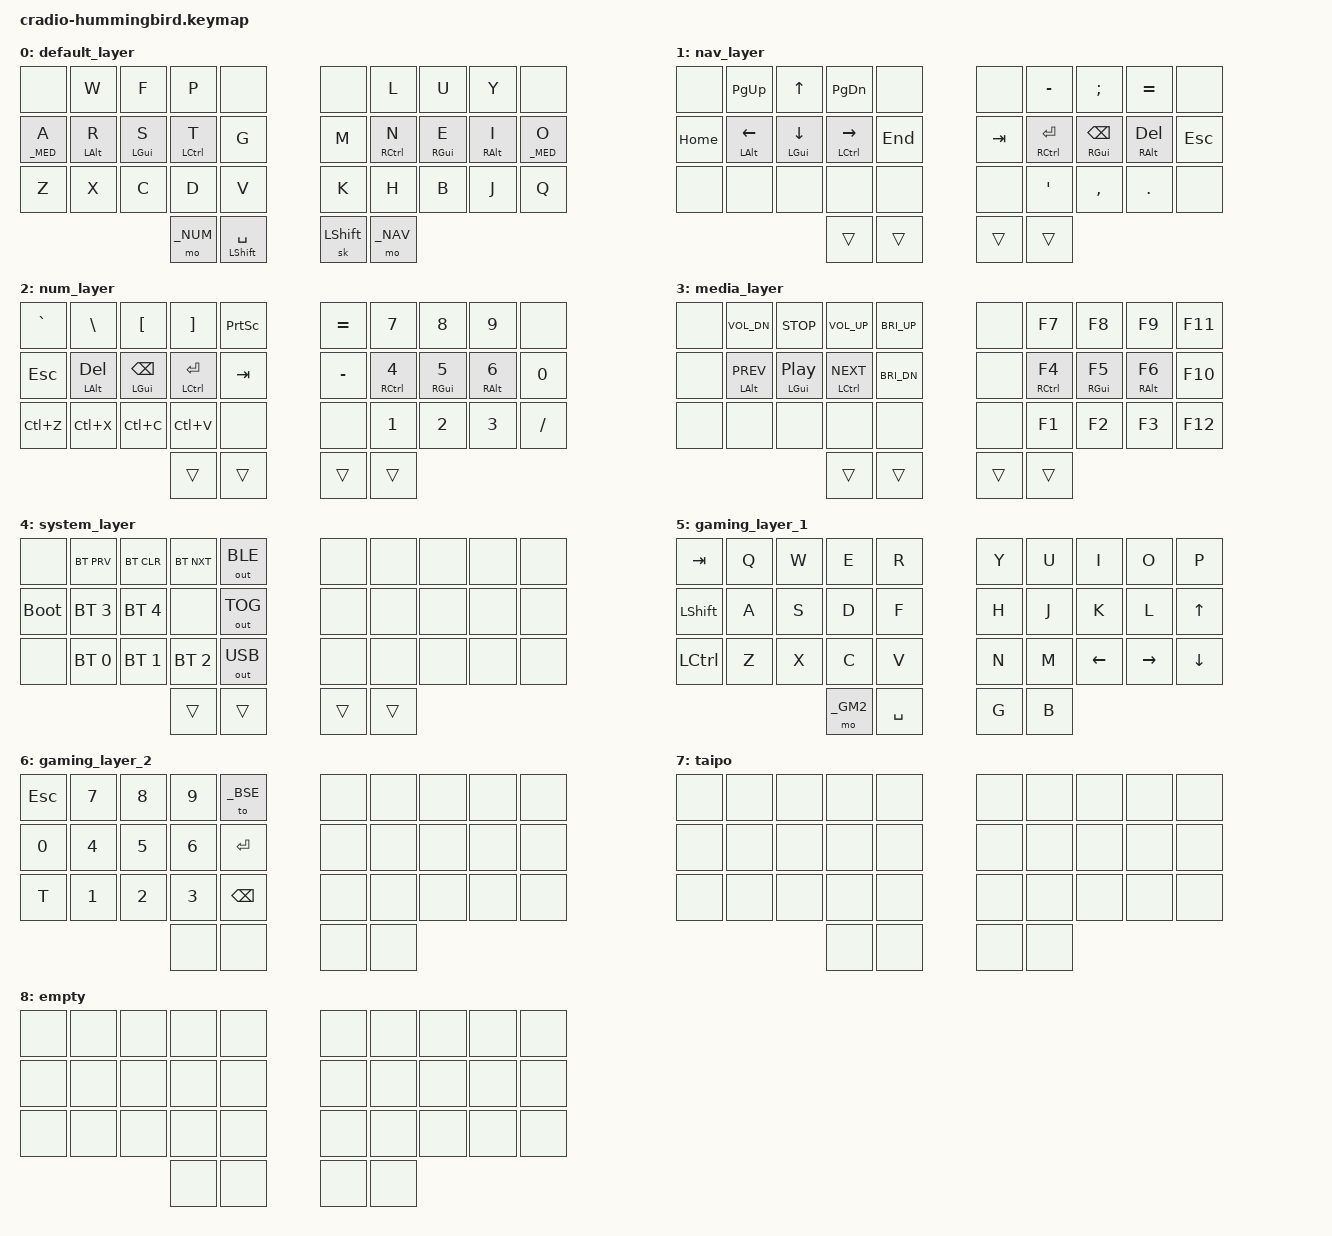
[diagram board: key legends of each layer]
/*
 * Copyright (c) 2020 The ZMK Contributors
 *
 * SPDX-License-Identifier: MIT
 */

#include <behaviors.dtsi>
#include <dt-bindings/zmk/bt.h>
#include <dt-bindings/zmk/keys.h>
#include <dt-bindings/zmk/outputs.h>

// CONFIG
#define COMBO_TIMEOUT 70
#define COMBO_LAYERS 7
#define STICKY_TIMEOUT 500

// LEFT SIDE
#define TLI 3 // TOP
#define TLM 2 // TOP
#define TLR 1 // TOP
#define TLP 0 // TOP
#define BLI 13 // BOTTOM
#define BLM 12 // BOTTOM
#define BLR 11 // BOTTOM
#define BLP 10 // BOTTOM
#define LOT 31 // O-THUMB
#define LIT 30 // I-THUMB

// RIGHT SIDE
#define TRI 6 // TOP
#define TRM 7 // TOP
#define TRR 8 // TOP
#define TRP 9 // TOP
#define BRI 16 // BOTTOM
#define BRM 17 // BOTTOM
#define BRR 18 // BOTTOM
#define BRP 19 // BOTTOM
#define ROT 32 // O-THUMB
#define RIT 33 // I-THUMB

// LAYERS
#define _BSE 0
#define _NAV 1
#define _NUM 2
#define _MED 3
#define _SYS 4
#define _GM1 5
#define _GM2 6
#define _TPO 7

&mt {
  flavor = "tap-preferred";
  tapping_term_ms = <200>;
};

&lt {
  flavor = "tap-preferred";
  tapping_term_ms = <200>;
};

&sl {
    release-after-ms = <1000>;
};

&sk {
    release-after-ms = <STICKY_TIMEOUT>;
    quick-release;
};

/ {
  macros {
    ZMK_MACRO (expand,
      wait-ms = <30>;
      tap-ms = <40>;
      bindings = <&kp DOT &kp COMMA>;
    )
  };

  combos {
    compatible = "zmk,combos";
    combo_system {
      timeout-ms = <100>;
      key-positions = <0 20>;
      bindings = <&tog _SYS>;
      layers = <0 _SYS>;
    };
    combo_boot {
      timeout-ms = <100>;
      key-positions = <0 4>;
      bindings = <&bootloader>;
      layers = <0>;
    };
    combo_bspcl {
      timeout-ms = <100>;
      key-positions = <13 14>;
      bindings = <&kp BSPC>;
    };
    combo_bspcr {
      timeout-ms = <100>;
      key-positions = <15 16>;
      bindings = <&kp BSPC>;
    };
    combo_esc {
      timeout-ms = <100>;
      key-positions = <13 24>;
      bindings = <&kp ESC>;
    };
    combo_ret {
      timeout-ms = <100>;
      key-positions = <16 25>;
      bindings = <&kp RET>;
    };
    combo_tab {
      timeout-ms = <100>;
      key-positions = <23 24>;
      bindings = <&kp TAB>;
    };
    combo_del {
      timeout-ms = <100>;
      key-positions = <25 26>;
      bindings = <&kp DEL>;
    };
    combo_taipo {
      timeout-ms = <100>;
      key-positions = <4 14>;
      bindings = <&tog _TPO>;
    };

    #include "taipo.dtsi"
  };

  keymap {
    compatible = "zmk,keymap";

    default_layer {
      bindings = <
        &none            &kp W            &kp F            &kp P            &none                 &none            &kp L            &kp U            &kp Y            &none
        &lt _MED A       &mt LALT R       &mt LGUI S       &mt LCTRL T      &kp G                 &kp M            &mt RCTRL N      &mt RGUI E       &mt RALT I       &lt _MED O
        &kp Z            &kp X            &kp C            &kp D            &kp V                 &kp K            &kp H            &kp B            &kp J            &kp Q
                                                           &mo _NUM         &mt LSHIFT SPC        &sk LSHIFT       &mo _NAV      
      >;
    };

    nav_layer {
      bindings = <
        &none            &kp PG_UP        &kp UP           &kp PG_DN        &none                 &none            &kp MINUS        &kp SEMI         &kp EQUAL        &none
        &kp HOME         &mt LALT LEFT    &mt LGUI DOWN    &mt LCTRL RIGHT  &kp END               &kp TAB          &mt RCTRL RET    &mt RGUI BSPC    &mt RALT DEL     &kp ESC
        &none            &none            &none            &none            &none                 &none            &kp SQT          &kp COMMA        &kp DOT          &none
                                                           &trans           &trans                &trans           &trans
      >;
    };

    num_layer {
      bindings = <
        &kp GRAVE        &kp BSLH         &kp LBKT         &kp RBKT         &kp PSCRN             &kp EQUAL        &kp N7           &kp N8           &kp N9           &none 
        &kp ESC          &mt LALT DEL     &mt LGUI BSPC    &mt LCTRL RET    &kp TAB               &kp MINUS        &mt RCTRL N4     &mt RGUI N5      &mt RALT N6      &kp N0
        &kp LC(Z)        &kp LC(X)        &kp LC(C)        &kp LC(V)        &none                 &none            &kp N1           &kp N2           &kp N3           &kp FSLH 
                                                           &trans           &trans                &trans           &trans
      >;
    };

    media_layer {
      bindings = <
        &none            &kp C_VOL_DN     &kp C_STOP       &kp C_VOL_UP     &kp C_BRI_UP          &none            &kp F7           &kp F8           &kp F9           &kp F11
        &none            &mt LALT C_PREV  &mt LGUI C_PP    &mt LCTRL C_NEXT &kp C_BRI_DN          &none            &mt RCTRL F4     &mt RGUI F5      &mt RALT F6      &kp F10
        &none            &none            &none            &none            &none                 &none            &kp F1           &kp F2           &kp F3           &kp F12
                                                           &trans           &trans                &trans           &trans
      >;
    };

    system_layer {
      bindings = <
        &none            &bt BT_PRV       &bt BT_CLR       &bt BT_NXT       &out OUT_BLE          &none            &none            &none            &none            &none
        &bootloader      &bt BT_SEL 3     &bt BT_SEL 4     &none            &out OUT_TOG          &none            &none            &none            &none            &none
        &none            &bt BT_SEL 0     &bt BT_SEL 1     &bt BT_SEL 2     &out OUT_USB          &none            &none            &none            &none            &none
                                                           &trans           &trans                &trans           &trans
      >;
    };

    gaming_layer_1 {
      bindings = <
        &kp TAB         &kp Q            &kp W             &kp E            &kp R                 &kp Y            &kp U            &kp I            &kp O            &kp P
        &kp LSHIFT      &kp A            &kp S             &kp D            &kp F                 &kp H            &kp J            &kp K            &kp L            &kp UP
        &kp LCTRL       &kp Z            &kp X             &kp C            &kp V                 &kp N            &kp M            &kp LEFT         &kp RIGHT        &kp DOWN
                                                           &mo _GM2         &kp SPC               &kp G            &kp B
      >;
    };
    
    gaming_layer_2 {
      bindings = <
        &kp ESC         &kp N7           &kp N8            &kp N9           &to _BSE              &none            &none            &none            &none            &none
        &kp N0          &kp N4           &kp N5            &kp N6           &kp RET               &none            &none            &none            &none            &none
        &kp T           &kp N1           &kp N2            &kp N3           &kp BSPC              &none            &none            &none            &none            &none
                                                           &none            &none                 &none            &none
      >;
    };

    taipo {
      bindings = <
        &none           &none            &none             &none            &none                 &none            &none            &none            &none            &none
        &none           &none            &none             &none            &none                 &none            &none            &none            &none            &none
        &none           &none            &none             &none            &none                 &none            &none            &none            &none            &none
                                                           &none            &none                 &none            &none
      >;
    };

    empty {
      bindings = <
        &none           &none            &none             &none            &none                 &none            &none            &none            &none            &none
        &none           &none            &none             &none            &none                 &none            &none            &none            &none            &none
        &none           &none            &none             &none            &none                 &none            &none            &none            &none            &none
                                                           &none            &none                 &none            &none
      >;
    };
  };
};
